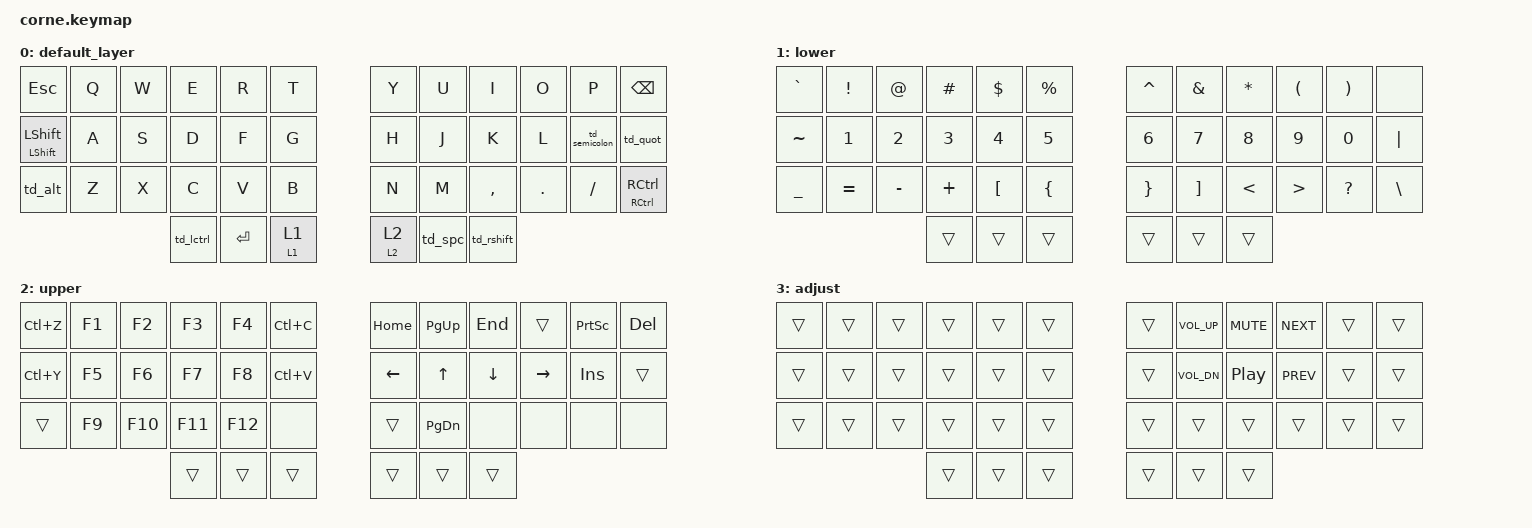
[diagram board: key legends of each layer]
/*
 * Copyright (c) 2020 The ZMK Contributors
 *
 * SPDX-License-Identifier: MIT
 */

#include <behaviors.dtsi>
#include <dt-bindings/zmk/keys.h>

/ {
    behaviors {
        sm: sm {
            compatible = "zmk,behavior-sticky-key";
            label = "SM";
            bindings = <&kp>;
            #binding-cells = <1>;
            release-after-ms = <1000>;
            ignore-modifiers;
            quick-release;
        };

        sl_mo: sl_mo {
            compatible = "zmk,behavior-hold-tap";
            label = "SL_MO";
            bindings = <&mo>, <&sl>;

            #binding-cells = <2>;
            flavor = "tap-unless-interrupted";
            tapping-term-ms = <100>;
        };

        td_alt: td_alt {
            compatible = "zmk,behavior-tap-dance";
            label = "TD_ALT";
            #binding-cells = <0>;
            bindings = <&smt LALT LALT>, <&smt LALT LALT>;
        };

        td_quot: td_quot {
            compatible = "zmk,behavior-tap-dance";
            label = "TD_QUOT";
            #binding-cells = <0>;
            bindings = <&kp SQT>, <&kp DQT>;
        };

        td_semicolon: td_semicolon {
            compatible = "zmk,behavior-tap-dance";
            label = "TD_SEMICOLON";
            #binding-cells = <0>;
            bindings = <&kp SEMI>, <&kp COLON>;
        };

        td_rshift: td_rshift {
            compatible = "zmk,behavior-tap-dance";
            label = "TD_RSHIFT";
            #binding-cells = <0>;
            bindings = <&smt RSHFT RSHIFT>, <&caps_word>;
        };

        td_lctrl: td_lctrl {
            compatible = "zmk,behavior-tap-dance";
            label = "TD_LCTRL";
            #binding-cells = <0>;
            bindings = <&smt LCTRL LCTRL>, <&smt LEFT_WIN LEFT_WIN>;
        };

        smt: smt {
            compatible = "zmk,behavior-hold-tap";
            label = "SMT";
            bindings = <&kp>, <&sm>;

            #binding-cells = <2>;
            tapping-term-ms = <100>;
            flavor = "tap-unless-interrupted";
            quick-tap-ms = <200>;
        };

        td_spc: td_spc {
            compatible = "zmk,behavior-tap-dance";
            label = "TD_SPC";
            #binding-cells = <0>;
            bindings = <&kp SPACE>, <&kp TAB>;
        };
    };

    keymap {
        compatible = "zmk,keymap";

        default_layer {
            // -----------------------------------------------------------------------------------------
            // |  TAB |  Q  |  W  |  E  |  R  |  T  |   |  Y  |  U   |  I  |  O  |  P  | BKSP |
            // | CTRL |  A  |  S  |  D  |  F  |  G  |   |  H  |  J   |  K  |  L  |  ;  |  '   |
            // | SHFT |  Z  |  X  |  C  |  V  |  B  |   |  N  |  M   |  ,  |  .  |  /  | ESC  |
            //                    | GUI | LWR | SPC |   | ENT | RSE  | ALT |

            bindings = <
&kp ESCAPE         &kp Q  &kp W  &kp E      &kp R      &kp T         &kp Y       &kp U    &kp I       &kp O    &kp P          &kp BACKSPACE
&smt LSHIFT LSHFT  &kp A  &kp S  &kp D      &kp F      &kp G         &kp H       &kp J    &kp K       &kp L    &td_semicolon  &td_quot
&td_alt            &kp Z  &kp X  &kp C      &kp V      &kp B         &kp N       &kp M    &kp COMMA   &kp DOT  &kp FSLH       &smt RCTRL RCTRL
                                 &td_lctrl  &kp ENTER  &sl_mo 1 1    &sl_mo 2 2  &td_spc  &td_rshift
            >;
        };

        lower {
            bindings = <
&kp GRAVE       &kp EXCLAMATION  &kp AT_SIGN   &kp POUND     &kp DOLLAR        &kp PERCENT       &kp CARET        &kp AMPERSAND      &kp ASTERISK   &kp LEFT_PARENTHESIS  &kp RIGHT_PARENTHESIS  &none
&kp TILDE       &kp NUMBER_1     &kp NUMBER_2  &kp NUMBER_3  &kp NUMBER_4      &kp NUMBER_5      &kp NUMBER_6     &kp NUMBER_7       &kp NUMBER_8   &kp NUMBER_9          &kp NUMBER_0           &kp PIPE
&kp UNDERSCORE  &kp EQUAL        &kp MINUS     &kp PLUS      &kp LEFT_BRACKET  &kp LEFT_BRACE    &kp RIGHT_BRACE  &kp RIGHT_BRACKET  &kp LESS_THAN  &kp GREATER_THAN      &kp QUESTION           &kp BACKSLASH
                                               &trans        &trans            &trans            &trans           &trans             &trans
            >;
        };

        upper {
            bindings = <
&kp LC(Z)  &kp F1  &kp F2   &kp F3   &kp F4   &kp LC(C)    &kp HOME        &kp PAGE_UP    &kp END         &trans           &kp PRINTSCREEN  &kp DELETE
&kp LC(Y)  &kp F5  &kp F6   &kp F7   &kp F8   &kp LC(V)    &kp LEFT_ARROW  &kp UP_ARROW   &kp DOWN_ARROW  &kp RIGHT_ARROW  &kp INSERT       &trans
&trans     &kp F9  &kp F10  &kp F11  &kp F12  &none        &trans          &kp PAGE_DOWN  &none           &none            &none            &none
                            &trans   &trans   &trans       &trans          &trans         &trans
            >;
        };

        adjust {
            bindings = <
&trans  &trans  &trans  &trans  &trans  &trans    &trans  &kp C_VOLUME_UP  &kp C_MUTE  &kp C_NEXT  &trans  &trans
&trans  &trans  &trans  &trans  &trans  &trans    &trans  &kp C_VOL_DN     &kp C_PP    &kp C_PREV  &trans  &trans
&trans  &trans  &trans  &trans  &trans  &trans    &trans  &trans           &trans      &trans      &trans  &trans
                        &trans  &trans  &trans    &trans  &trans           &trans
            >;
        };
    };

    conditional_layers {
        compatible = "zmk,conditional-layers";

        adjust {
            if-layers = <1 2>;
            then-layer = <3>;
        };
    };
};
